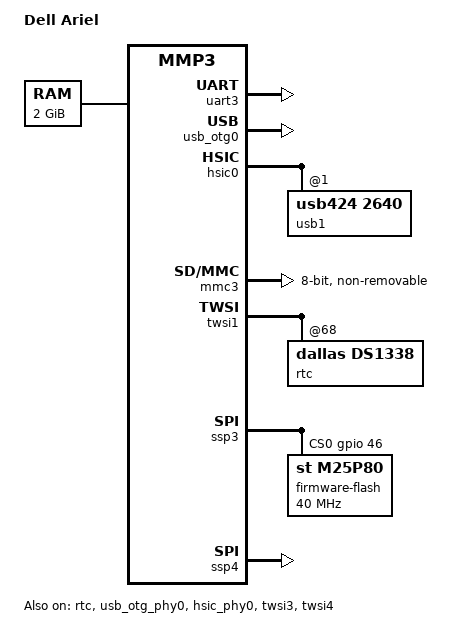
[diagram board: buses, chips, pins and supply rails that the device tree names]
// SPDX-License-Identifier: GPL-2.0-or-later OR MIT
/*
 * Dell Wyse 3020 a.k.a. "Ariel" a.k.a. Tx0D (T00D, T10D)
 *
 * Copyright (C) 2019 Lubomir Rintel <lkundrak@v3.sk>
 */

/dts-v1/;
#include "mmp3.dtsi"
#include <dt-bindings/gpio/gpio.h>
#include <dt-bindings/interrupt-controller/irq.h>

/ {
	model = "Dell Ariel";
	compatible = "dell,wyse-ariel", "marvell,mmp3";

	aliases {
		serial2 = &uart3;
	};

	chosen {
		#address-cells = <0x1>;
		#size-cells = <0x1>;
		ranges;
		bootargs = "earlyprintk=ttyS2,115200 console=ttyS2,115200";
	};

	memory@0 {
		linux,usable-memory = <0x0 0x7f600000>;
		available = <0x7f700000 0x7ff00000 0x00000000 0x7f600000>;
		reg = <0x0 0x80000000>;
		device_type = "memory";
	};
};

&uart3 {
	status = "okay";
};

&rtc {
	status = "okay";
};

&usb_otg0 {
	status = "okay";
};

&usb_otg_phy0 {
	status = "okay";
};

&hsic0 {
	status = "okay";

	usb1@1 {
		compatible = "usb424,2640";
		reg = <0x01>;
		#address-cells = <0x01>;
		#size-cells = <0x00>;

		mass-storage@1 {
			compatible = "usb424,4040";
			reg = <0x01>;
			status = "disabled";
		};
	};
};

&hsic_phy0 {
	status = "okay";
	reset-gpios = <&gpio 63 GPIO_ACTIVE_HIGH>;
};

&mmc3 {
	status = "okay";
	max-frequency = <50000000>;
	status = "okay";
	bus-width = <8>;
	non-removable;
	cap-mmc-highspeed;
};

&twsi1 {
	status = "okay";

	rtc@68 {
		compatible = "dallas,ds1338";
		reg = <0x68>;
		status = "okay";
	};
};

&twsi3 {
	status = "okay";
};

&twsi4 {
	status = "okay";
};

&ssp3 {
	status = "okay";
	cs-gpios = <&gpio 46 GPIO_ACTIVE_HIGH>;

	firmware-flash@0 {
		compatible = "st,m25p80", "jedec,spi-nor";
		reg = <0>;
		spi-max-frequency = <40000000>;
		m25p,fast-read;
	};
};

&ssp4 {
	cs-gpios = <&gpio 56 GPIO_ACTIVE_HIGH>;
	status = "okay";
};
